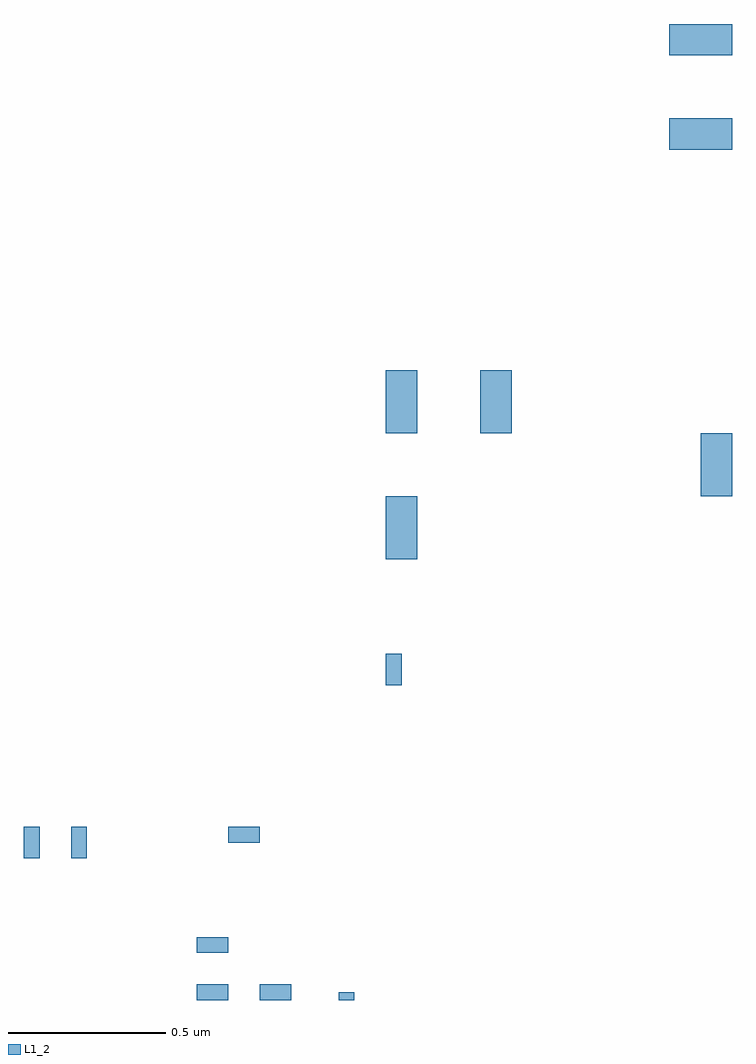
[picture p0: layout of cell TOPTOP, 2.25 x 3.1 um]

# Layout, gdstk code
from math import pi, radians
import gdstk
lib = gdstk.Library(unit=1e-6, precision=1e-09)
def R(c, l, rs):  # rectangles x0, y0, x1, y1
    for r in rs: c.add(gdstk.rectangle(r[:2], r[2:], *l))
L1_2 = (1, 2)

c_a = lib.new_cell('A')
R(c_a, L1_2, [(0.3,-0.4,0.4,-0.2)])

top = lib.new_cell('TOP')
top.add(gdstk.Reference(c_a, (-0.15,0.2), magnification=0.5))
top.add(gdstk.Reference(c_a, (-0.3,0.8)))
top.add(gdstk.Reference(c_a, (-0.3,1.2)))
top.add(gdstk.Reference(c_a, (0,1.2)))
top.add(gdstk.Reference(c_a, (0.7,0.4), x_reflection=True))
top.add(gdstk.Reference(c_a, (0.7,1.4), rotation=pi/2))
top.add(gdstk.Reference(c_a, (0.7,2.4), rotation=3*pi/2, x_reflection=True))

toptop = lib.new_cell('TOPTOP')
toptop.add(gdstk.Reference(top, (0.1,0), rotation=pi/2, magnification=0.5))
toptop.add(gdstk.Reference(top, (0.2,1)))

lib.write_gds('TOPTOP.gds')
